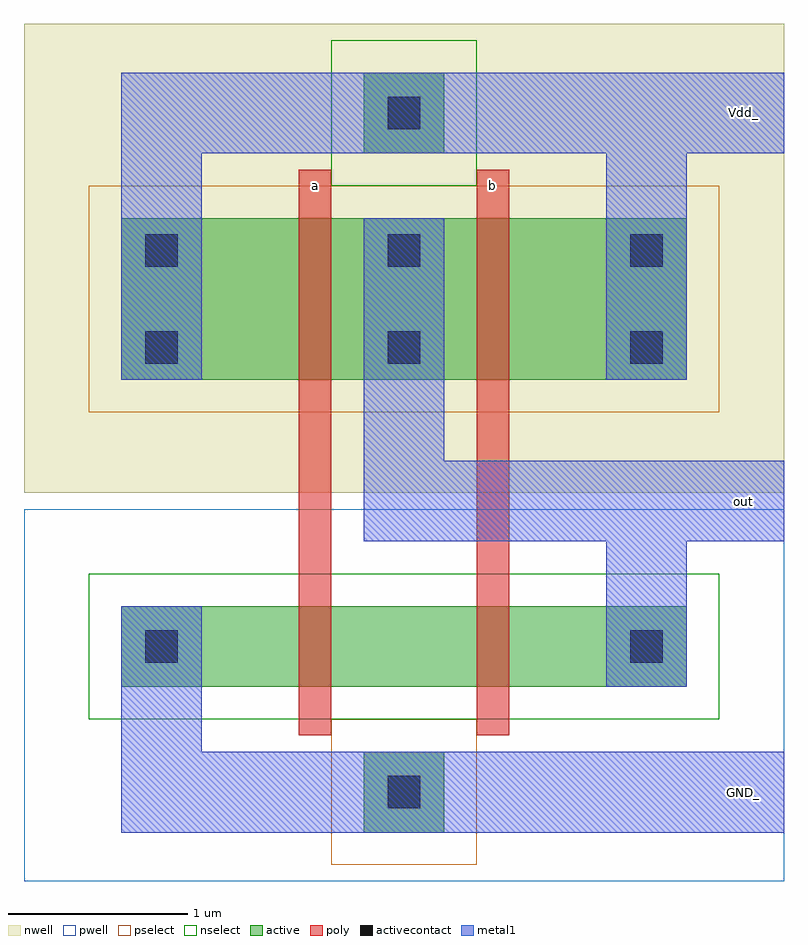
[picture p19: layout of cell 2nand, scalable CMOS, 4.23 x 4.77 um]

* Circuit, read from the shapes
.subckt 2nand GND_ Vdd_ a b out
M1 n1 a GND_ GND_ nfet w=0.45u l=0.18u
M2 out b n1 GND_ nfet w=0.45u l=0.18u
M3 out a Vdd_ Vdd_ pfet w=0.9u l=0.18u
M4 Vdd_ b out Vdd_ pfet w=0.9u l=0.18u
.ends

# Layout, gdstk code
import gdstk
lib = gdstk.Library(unit=1e-6, precision=1e-09)
def R(c, l, rs):  # rectangles x0, y0, x1, y1
    for r in rs: c.add(gdstk.rectangle(r[:2], r[2:], *l))
def A(c, l, x, y, w, h, nx, ny, dx, dy):  # array of equal rectangles
    R(c, l, [(x+i*dx, y+j*dy, x+i*dx+w, y+j*dy+h) for i in range(nx) for j in range(ny)])
pwell = (41, 0)
nwell = (42, 0)
active = (43, 0)
pselect = (44, 0)
nselect = (45, 0)
poly = (46, 0)
activecontact = (48, 0)
metal1 = (49, 0)

c_2nand = lib.new_cell('2nand')
R(c_2nand, pwell, [(6.12,2.61,10.35,4.68)])
R(c_2nand, nwell, [(6.12,4.77,10.35,7.38)])
R(c_2nand, active, [(8.01,2.88,8.46,3.33), (6.66,3.69,9.81,4.14), (6.66,5.4,9.81,6.3), (8.01,6.66,8.46,7.11)])
R(c_2nand, pselect, [(7.83,2.7,8.64,3.51), (6.48,5.22,9.99,6.48)])
R(c_2nand, nselect, [(6.48,3.51,9.99,4.32), (7.83,6.48,8.64,7.29)])
R(c_2nand, poly, [(7.65,3.42,7.83,6.57), (8.64,3.42,8.82,6.57)])
A(c_2nand, activecontact, 6.795, 5.49, 0.18, 0.18, 3, 2, 1.35, 0.54)
R(c_2nand, activecontact, [(8.145,3.015,8.325,3.195), (6.795,3.825,6.975,4.005), (9.495,3.825,9.675,4.005), (8.145,6.795,8.325,6.975)])
R(c_2nand, metal1, [(6.66,2.88,10.35,3.33), (6.66,3.33,7.11,4.14), (9.36,3.69,9.81,4.5), (8.01,4.5,10.35,4.95), (8.01,4.95,8.46,6.3), (6.66,5.4,7.11,6.66), (9.36,5.4,9.81,6.66), (6.66,6.66,10.35,7.11)])
c_2nand.add(gdstk.Label('Vdd_', (10.125,6.885), layer=49, texttype=0))
c_2nand.add(gdstk.Label('a', (7.74,6.48), layer=46, texttype=0))
c_2nand.add(gdstk.Label('b', (8.73,6.48), layer=46, texttype=0))
c_2nand.add(gdstk.Label('out', (10.125,4.725), layer=49, texttype=0))
c_2nand.add(gdstk.Label('GND_', (10.125,3.105), layer=49, texttype=0))

lib.write_gds('2nand.gds')
